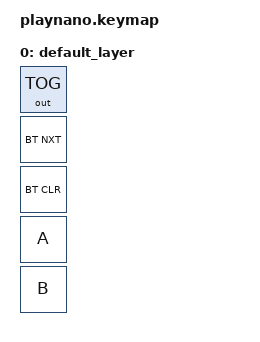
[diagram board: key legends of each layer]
 #include <behaviors.dtsi>
 #include <dt-bindings/zmk/keys.h>
 #include <dt-bindings/zmk/bt.h>
 #include <dt-bindings/zmk/outputs.h>
 
 / {
     keymap {
         compatible = "zmk,keymap";
 
         default_layer {
             bindings = <
              &out OUT_TOG
              &bt BT_NXT
              &bt BT_CLR
              &kp A
              &kp B
             >;
         };
     };
 };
